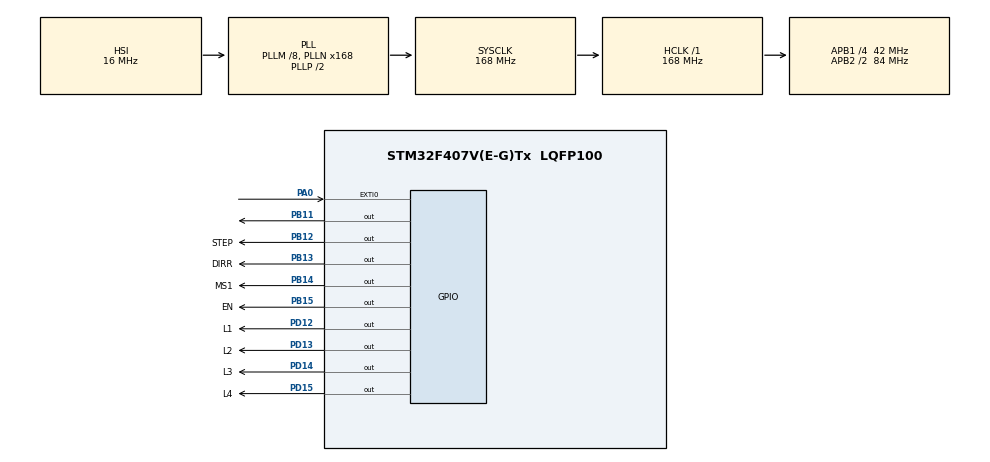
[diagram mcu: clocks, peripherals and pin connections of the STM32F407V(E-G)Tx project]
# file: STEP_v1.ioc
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Mcu.Family=STM32F4
Mcu.Name=STM32F407V(E-G)Tx
Mcu.Package=LQFP100
NVIC.EXTI0_IRQn=true\:0\:0\:false\:false\:true\:true\:true
NVIC.PriorityGroup=NVIC_PRIORITYGROUP_4
NVIC.RCC_IRQn=true\:0\:0\:false\:false\:true\:true\:false
PA0-WKUP.GPIO_PuPd=GPIO_PULLDOWN
PA0-WKUP.Signal=GPXTI0
PA13.Mode=Serial_Wire
PA13.Signal=SYS_JTMS-SWDIO
PA14.Mode=Serial_Wire
PA14.Signal=SYS_JTCK-SWCLK
PB11.Signal=GPIO_Output
PB12.GPIO_Label=STEP
PB12.Signal=GPIO_Output
PB13.GPIO_Label=DIRR
PB13.Signal=GPIO_Output
PB14.GPIO_Label=MS1
PB14.Signal=GPIO_Output
PB15.GPIO_Label=EN
PB15.Signal=GPIO_Output
PD12.GPIO_Label=L1
PD12.Signal=GPIO_Output
PD13.GPIO_Label=L2
PD13.Signal=GPIO_Output
PD14.GPIO_Label=L3
PD14.Signal=GPIO_Output
PD15.GPIO_Label=L4
PD15.Signal=GPIO_Output
PH0-OSC_IN.Mode=HSE-External-Oscillator
PH0-OSC_IN.Signal=RCC_OSC_IN
PH1-OSC_OUT.Mode=HSE-External-Oscillator
PH1-OSC_OUT.Signal=RCC_OSC_OUT
ProjectManager.HeapSize=0x200
ProjectManager.StackSize=0x400
ProjectManager.TargetToolchain=MDK-ARM V5.27
RCC.48MHZClocksFreq_Value=84000000
RCC.AHBFreq_Value=168000000
RCC.APB1CLKDivider=RCC_HCLK_DIV4
RCC.APB1Freq_Value=42000000
RCC.APB1TimFreq_Value=84000000
RCC.APB2CLKDivider=RCC_HCLK_DIV2
RCC.APB2Freq_Value=84000000
RCC.APB2TimFreq_Value=168000000
RCC.CortexFreq_Value=168000000
RCC.HCLKFreq_Value=168000000
RCC.HSE_VALUE=8000000
RCC.HSI_VALUE=16000000
RCC.LSE_VALUE=32768
RCC.PLLM=8
RCC.PLLN=168
RCC.SYSCLKFreq_VALUE=168000000
RCC.SYSCLKSource=RCC_SYSCLKSOURCE_PLLCLK
RCC.VCOOutputFreq_Value=336000000
board=custom

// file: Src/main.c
/* USER CODE BEGIN Header */
/**
  ******************************************************************************
  * @file           : main.c
  * @brief          : Main program body
  ******************************************************************************
  * @attention
  *
  * <h2><center>&copy; Copyright (c) 2020 STMicroelectronics.
  * All rights reserved.</center></h2>
  *
  * This software component is licensed by ST under BSD 3-Clause license,
  * the "License"; You may not use this file except in compliance with the
  * License. You may obtain a copy of the License at:
  *                        opensource.org/licenses/BSD-3-Clause
  *
  ******************************************************************************
  */
/* USER CODE END Header */

#include "main.h"

/* USER CODE BEGIN Includes */
#include "motor_v1.h"
/* USER CODE END Includes */

void SystemClock_Config(void);
static void MX_GPIO_Init(void);

/* USER CODE BEGIN 0 */

int i=0;

void HAL_GPIO_EXTI_Callback(uint16_t GPIO_Pin) //Kill button
{
	i++;

	if(i == 1){
		HAL_GPIO_WritePin(GPIOD, L1_Pin | L3_Pin, GPIO_PIN_SET);
		MOTOR_Stop();
		HAL_Delay(500);
		HAL_GPIO_WritePin(GPIOD, L1_Pin | L3_Pin, GPIO_PIN_RESET);
		HAL_Delay(500);
		i=0;
		}
}
/* USER CODE END 0 */

int main(void)
{

  /* MCU Configuration--------------------------------------------------------*/

  /* Reset of all peripherals, Initializes the Flash interface and the Systick. */
  HAL_Init();

  /* Configure the system clock */
  SystemClock_Config();

  /* Initialize all configured peripherals */
  MX_GPIO_Init();
  /* USER CODE BEGIN 2 */
	MOTOR_Begin2BIT(GPIOB, STEP_Pin, DIRR_Pin);

	HAL_GPIO_WritePin(GPIOB, EN_Pin, GPIO_PIN_SET);
	HAL_GPIO_WritePin(GPIOB, DIRR_Pin, GPIO_PIN_RESET);
	HAL_GPIO_WritePin(GPIOB, MS1_Pin, GPIO_PIN_SET);

	HAL_GPIO_WritePin(GPIOD, GPIO_PIN_All, GPIO_PIN_SET);
	HAL_Delay(500);
	HAL_GPIO_WritePin(GPIOD, GPIO_PIN_All, GPIO_PIN_RESET);
	HAL_Delay(500);

  /* USER CODE END 2 */

  /* Infinite loop */
  while (1)
  {

    /* USER CODE BEGIN 3 */
		label:
			MOTOR_GO(200);
			HAL_GPIO_TogglePin(GPIOD, L1_Pin);
			HAL_Delay(500);

			MOTOR_Turn();
			HAL_GPIO_TogglePin(GPIOD, L2_Pin);
			HAL_Delay(1000);

			MOTOR_GO(200);
			HAL_GPIO_TogglePin(GPIOD, L3_Pin);
			HAL_Delay(500);

			MOTOR_Turn();
			HAL_GPIO_TogglePin(GPIOD, L4_Pin);
			HAL_Delay(500);

			HAL_GPIO_WritePin(GPIOD, GPIO_PIN_All, GPIO_PIN_SET);
			HAL_Delay(100);
			HAL_GPIO_WritePin(GPIOD, GPIO_PIN_All, GPIO_PIN_RESET);
			HAL_Delay(100);

  }
  /* USER CODE END 3 */
}

void SystemClock_Config(void)
{
  RCC_OscInitTypeDef RCC_OscInitStruct = {0};
  RCC_ClkInitTypeDef RCC_ClkInitStruct = {0};

  /** Configure the main internal regulator output voltage
  */
  __HAL_RCC_PWR_CLK_ENABLE();
  __HAL_PWR_VOLTAGESCALING_CONFIG(PWR_REGULATOR_VOLTAGE_SCALE1);
  /** Initializes the CPU, AHB and APB busses clocks
  */
  RCC_OscInitStruct.OscillatorType = RCC_OSCILLATORTYPE_HSI;
  RCC_OscInitStruct.HSIState = RCC_HSI_ON;
  RCC_OscInitStruct.HSICalibrationValue = RCC_HSICALIBRATION_DEFAULT;
  RCC_OscInitStruct.PLL.PLLState = RCC_PLL_ON;
  RCC_OscInitStruct.PLL.PLLSource = RCC_PLLSOURCE_HSI;
  RCC_OscInitStruct.PLL.PLLM = 8;
  RCC_OscInitStruct.PLL.PLLN = 168;
  RCC_OscInitStruct.PLL.PLLP = RCC_PLLP_DIV2;
  RCC_OscInitStruct.PLL.PLLQ = 4;
  if (HAL_RCC_OscConfig(&RCC_OscInitStruct) != HAL_OK)
  {
    Error_Handler();
  }
  /** Initializes the CPU, AHB and APB busses clocks
  */
  RCC_ClkInitStruct.ClockType = RCC_CLOCKTYPE_HCLK|RCC_CLOCKTYPE_SYSCLK
                              |RCC_CLOCKTYPE_PCLK1|RCC_CLOCKTYPE_PCLK2;
  RCC_ClkInitStruct.SYSCLKSource = RCC_SYSCLKSOURCE_PLLCLK;
  RCC_ClkInitStruct.AHBCLKDivider = RCC_SYSCLK_DIV1;
  RCC_ClkInitStruct.APB1CLKDivider = RCC_HCLK_DIV4;
  RCC_ClkInitStruct.APB2CLKDivider = RCC_HCLK_DIV2;

  if (HAL_RCC_ClockConfig(&RCC_ClkInitStruct, FLASH_LATENCY_5) != HAL_OK)
  {
    Error_Handler();
  }
}

static void MX_GPIO_Init(void)
{
  GPIO_InitTypeDef GPIO_InitStruct = {0};

  /* GPIO Ports Clock Enable */
  __HAL_RCC_GPIOH_CLK_ENABLE();
  __HAL_RCC_GPIOA_CLK_ENABLE();
  __HAL_RCC_GPIOB_CLK_ENABLE();
  __HAL_RCC_GPIOD_CLK_ENABLE();

  /*Configure GPIO pin Output Level */
  HAL_GPIO_WritePin(GPIOB, GPIO_PIN_11|STEP_Pin|DIRR_Pin|MS1_Pin
                          |EN_Pin, GPIO_PIN_RESET);

  /*Configure GPIO pin Output Level */
  HAL_GPIO_WritePin(GPIOD, L1_Pin|L2_Pin|L3_Pin|L4_Pin, GPIO_PIN_RESET);

  /*Configure GPIO pin : PA0 */
  GPIO_InitStruct.Pin = GPIO_PIN_0;
  GPIO_InitStruct.Mode = GPIO_MODE_IT_RISING;
  GPIO_InitStruct.Pull = GPIO_PULLDOWN;
  HAL_GPIO_Init(GPIOA, &GPIO_InitStruct);

  /*Configure GPIO pins : PB11 STEP_Pin DIRR_Pin MS1_Pin
                           EN_Pin */
  GPIO_InitStruct.Pin = GPIO_PIN_11|STEP_Pin|DIRR_Pin|MS1_Pin
                          |EN_Pin;
  GPIO_InitStruct.Mode = GPIO_MODE_OUTPUT_PP;
  GPIO_InitStruct.Pull = GPIO_NOPULL;
  GPIO_InitStruct.Speed = GPIO_SPEED_FREQ_LOW;
  HAL_GPIO_Init(GPIOB, &GPIO_InitStruct);

  /*Configure GPIO pins : L1_Pin L2_Pin L3_Pin L4_Pin */
  GPIO_InitStruct.Pin = L1_Pin|L2_Pin|L3_Pin|L4_Pin;
  GPIO_InitStruct.Mode = GPIO_MODE_OUTPUT_PP;
  GPIO_InitStruct.Pull = GPIO_NOPULL;
  GPIO_InitStruct.Speed = GPIO_SPEED_FREQ_LOW;
  HAL_GPIO_Init(GPIOD, &GPIO_InitStruct);

  /* EXTI interrupt init*/
  HAL_NVIC_SetPriority(EXTI0_IRQn, 0, 0);
  HAL_NVIC_EnableIRQ(EXTI0_IRQn);

}

void Error_Handler(void)
{
}

/************************ (C) COPYRIGHT STMicroelectronics *****END OF FILE****/
